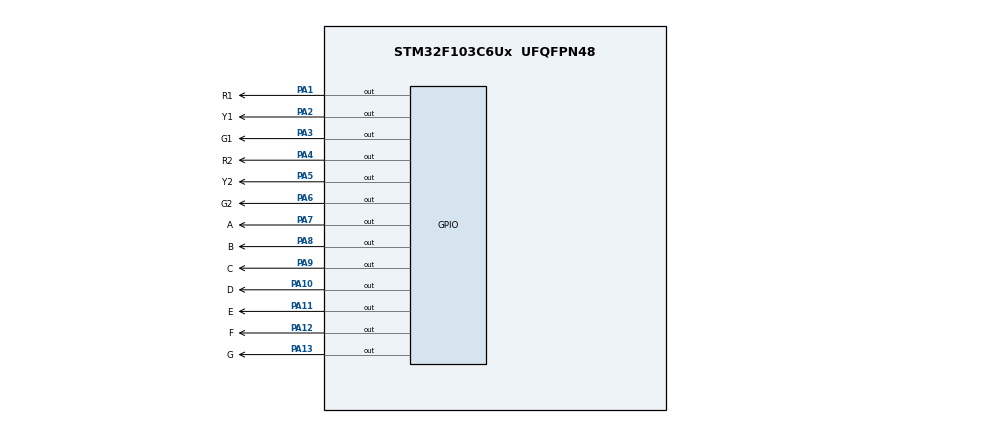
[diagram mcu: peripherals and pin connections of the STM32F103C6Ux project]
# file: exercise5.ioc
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Mcu.Family=STM32F1
Mcu.Name=STM32F103C6Ux
Mcu.Package=UFQFPN48
NVIC.PriorityGroup=NVIC_PRIORITYGROUP_4
PA1.GPIO_Label=R1
PA1.Signal=GPIO_Output
PA10.GPIO_Label=D
PA10.Signal=GPIO_Output
PA11.GPIO_Label=E
PA11.Signal=GPIO_Output
PA12.GPIO_Label=F
PA12.Signal=GPIO_Output
PA13.GPIO_Label=G
PA13.Signal=GPIO_Output
PA2.GPIO_Label=Y1
PA2.Signal=GPIO_Output
PA3.GPIO_Label=G1
PA3.Signal=GPIO_Output
PA4.GPIO_Label=R2
PA4.Signal=GPIO_Output
PA5.GPIO_Label=Y2
PA5.Signal=GPIO_Output
PA6.GPIO_Label=G2
PA6.Signal=GPIO_Output
PA7.GPIO_Label=A
PA7.Signal=GPIO_Output
PA8.GPIO_Label=B
PA8.Signal=GPIO_Output
PA9.GPIO_Label=C
PA9.Signal=GPIO_Output
ProjectManager.HeapSize=0x200
ProjectManager.StackSize=0x400
ProjectManager.TargetToolchain=STM32CubeIDE
RCC.APB1Freq_Value=8000000
RCC.APB2Freq_Value=8000000
VP_SYS_VS_ND.Mode=No_Debug
board=custom

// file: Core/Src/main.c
/* USER CODE BEGIN Header */
/**
  ******************************************************************************
  * @file           : main.c
  * @brief          : Main program body
  ******************************************************************************
  * @attention
  *
  * <h2><center>&copy; Copyright (c) 2023 STMicroelectronics.
  * All rights reserved.</center></h2>
  *
  * This software component is licensed by ST under BSD 3-Clause license,
  * the "License"; You may not use this file except in compliance with the
  * License. You may obtain a copy of the License at:
  *                        opensource.org/licenses/BSD-3-Clause
  *
  ******************************************************************************
  */
/* USER CODE END Header */
#include "main.h"

void SystemClock_Config(void);
static void MX_GPIO_Init(void);

void display7SEG(int count){
	if(count == 0){
		HAL_GPIO_WritePin(A_GPIO_Port, A_Pin, RESET);
		HAL_GPIO_WritePin(B_GPIO_Port, B_Pin, RESET);
		HAL_GPIO_WritePin(C_GPIO_Port, C_Pin, RESET);
		HAL_GPIO_WritePin(D_GPIO_Port, D_Pin, RESET);
		HAL_GPIO_WritePin(E_GPIO_Port, E_Pin, RESET);
		HAL_GPIO_WritePin(F_GPIO_Port, F_Pin, RESET);
		HAL_GPIO_WritePin(G_GPIO_Port, G_Pin, SET);
	}
	else if(count == 1){
		HAL_GPIO_WritePin(A_GPIO_Port, A_Pin, SET);
		HAL_GPIO_WritePin(B_GPIO_Port, B_Pin, RESET);
		HAL_GPIO_WritePin(C_GPIO_Port, C_Pin, RESET);
		HAL_GPIO_WritePin(D_GPIO_Port, D_Pin, SET);
		HAL_GPIO_WritePin(E_GPIO_Port, E_Pin, SET);
		HAL_GPIO_WritePin(F_GPIO_Port, F_Pin, SET);
		HAL_GPIO_WritePin(G_GPIO_Port, G_Pin, SET);
	}
	else if(count == 2){
			HAL_GPIO_WritePin(A_GPIO_Port, A_Pin, RESET);
			HAL_GPIO_WritePin(B_GPIO_Port, B_Pin, RESET);
			HAL_GPIO_WritePin(C_GPIO_Port, C_Pin, SET);
			HAL_GPIO_WritePin(D_GPIO_Port, D_Pin, RESET);
			HAL_GPIO_WritePin(E_GPIO_Port, E_Pin, RESET);
			HAL_GPIO_WritePin(F_GPIO_Port, F_Pin, SET);
			HAL_GPIO_WritePin(G_GPIO_Port, G_Pin, RESET);
	}
	else if(count == 3){
			HAL_GPIO_WritePin(A_GPIO_Port, A_Pin, RESET);
			HAL_GPIO_WritePin(B_GPIO_Port, B_Pin, RESET);
			HAL_GPIO_WritePin(C_GPIO_Port, C_Pin, RESET);
			HAL_GPIO_WritePin(D_GPIO_Port, D_Pin, RESET);
			HAL_GPIO_WritePin(E_GPIO_Port, E_Pin, SET);
			HAL_GPIO_WritePin(F_GPIO_Port, F_Pin, SET);
			HAL_GPIO_WritePin(G_GPIO_Port, G_Pin, RESET);
	}
	else if(count == 4){
			HAL_GPIO_WritePin(A_GPIO_Port, A_Pin, SET);
			HAL_GPIO_WritePin(B_GPIO_Port, B_Pin, RESET);
			HAL_GPIO_WritePin(C_GPIO_Port, C_Pin, RESET);
			HAL_GPIO_WritePin(D_GPIO_Port, D_Pin, SET);
			HAL_GPIO_WritePin(E_GPIO_Port, E_Pin, SET);
			HAL_GPIO_WritePin(F_GPIO_Port, F_Pin, RESET);
			HAL_GPIO_WritePin(G_GPIO_Port, G_Pin, RESET);
	}
	else if(count == 5){
			HAL_GPIO_WritePin(A_GPIO_Port, A_Pin, RESET);
			HAL_GPIO_WritePin(B_GPIO_Port, B_Pin, SET);
			HAL_GPIO_WritePin(C_GPIO_Port, C_Pin, RESET);
			HAL_GPIO_WritePin(D_GPIO_Port, D_Pin, RESET);
			HAL_GPIO_WritePin(E_GPIO_Port, E_Pin, SET);
			HAL_GPIO_WritePin(F_GPIO_Port, F_Pin, RESET);
			HAL_GPIO_WritePin(G_GPIO_Port, G_Pin, RESET);
	}
	else if(count == 6){
			HAL_GPIO_WritePin(A_GPIO_Port, A_Pin, RESET);
			HAL_GPIO_WritePin(B_GPIO_Port, B_Pin, SET);
			HAL_GPIO_WritePin(C_GPIO_Port, C_Pin, RESET);
			HAL_GPIO_WritePin(D_GPIO_Port, D_Pin, RESET);
			HAL_GPIO_WritePin(E_GPIO_Port, E_Pin, RESET);
			HAL_GPIO_WritePin(F_GPIO_Port, F_Pin, RESET);
			HAL_GPIO_WritePin(G_GPIO_Port, G_Pin, RESET);
	}
	else if(count == 7){
			HAL_GPIO_WritePin(A_GPIO_Port, A_Pin, RESET);
			HAL_GPIO_WritePin(B_GPIO_Port, B_Pin, RESET);
			HAL_GPIO_WritePin(C_GPIO_Port, C_Pin, RESET);
			HAL_GPIO_WritePin(D_GPIO_Port, D_Pin, SET);
			HAL_GPIO_WritePin(E_GPIO_Port, E_Pin, SET);
			HAL_GPIO_WritePin(F_GPIO_Port, F_Pin, SET);
			HAL_GPIO_WritePin(G_GPIO_Port, G_Pin, SET);
	}
	else if(count == 8){
			HAL_GPIO_WritePin(A_GPIO_Port, A_Pin, RESET);
			HAL_GPIO_WritePin(B_GPIO_Port, B_Pin, RESET);
			HAL_GPIO_WritePin(C_GPIO_Port, C_Pin, RESET);
			HAL_GPIO_WritePin(D_GPIO_Port, D_Pin, RESET);
			HAL_GPIO_WritePin(E_GPIO_Port, E_Pin, RESET);
			HAL_GPIO_WritePin(F_GPIO_Port, F_Pin, RESET);
			HAL_GPIO_WritePin(G_GPIO_Port, G_Pin, RESET);
	}
	else if(count == 9){
			HAL_GPIO_WritePin(A_GPIO_Port, A_Pin, RESET);
			HAL_GPIO_WritePin(B_GPIO_Port, B_Pin, RESET);
			HAL_GPIO_WritePin(C_GPIO_Port, C_Pin, RESET);
			HAL_GPIO_WritePin(D_GPIO_Port, D_Pin, RESET);
			HAL_GPIO_WritePin(E_GPIO_Port, E_Pin, SET);
			HAL_GPIO_WritePin(F_GPIO_Port, F_Pin, RESET);
			HAL_GPIO_WritePin(G_GPIO_Port, G_Pin, RESET);
	}
}
int main(void)
{

  /* MCU Configuration--------------------------------------------------------*/

  /* Reset of all peripherals, Initializes the Flash interface and the Systick. */
  HAL_Init();

  /* Configure the system clock */
  SystemClock_Config();

  /* Initialize all configured peripherals */
  MX_GPIO_Init();

  /* Infinite loop */
  /* USER CODE BEGIN WHILE */
  HAL_GPIO_WritePin(R1_GPIO_Port, R1_Pin, RESET);
  HAL_GPIO_WritePin(Y1_GPIO_Port, Y1_Pin, RESET);
  HAL_GPIO_WritePin(G1_GPIO_Port, G1_Pin, RESET);
  HAL_GPIO_WritePin(R2_GPIO_Port, R2_Pin, RESET);
  HAL_GPIO_WritePin(Y2_GPIO_Port, Y2_Pin, RESET);
  HAL_GPIO_WritePin(G2_GPIO_Port, G2_Pin, RESET);
//  HAL_Delay(2000);
  int count = 0;
  while (1)
  {
	  if(count == 10 || count == 0){
		  count = 0;
		  HAL_GPIO_WritePin(Y1_GPIO_Port, Y1_Pin, RESET);
		  HAL_GPIO_WritePin(R2_GPIO_Port, R2_Pin, RESET);
		  HAL_GPIO_WritePin(R1_GPIO_Port, R1_Pin, SET);
		  HAL_GPIO_WritePin(G2_GPIO_Port, G2_Pin, SET);
	  }
	  else if(count == 3){
		  HAL_GPIO_WritePin(G2_GPIO_Port, G2_Pin, RESET);
		  HAL_GPIO_WritePin(Y2_GPIO_Port, Y2_Pin, SET);
	  }
	  else if(count == 5){
		  HAL_GPIO_WritePin(Y2_GPIO_Port, Y2_Pin, RESET);
		  HAL_GPIO_WritePin(R1_GPIO_Port, R1_Pin, RESET);
		  HAL_GPIO_WritePin(R2_GPIO_Port, R2_Pin, SET);
		  HAL_GPIO_WritePin(G1_GPIO_Port, G1_Pin, SET);
	  }
	  else if(count == 8){
		  HAL_GPIO_WritePin(G1_GPIO_Port, G1_Pin, RESET);
		  HAL_GPIO_WritePin(Y1_GPIO_Port, Y1_Pin, SET);
	  }
	  if(count < 5)
		  display7SEG(5 - count);
	  else if(count < 8)
		  display7SEG(8 - count);
	  else
		  display7SEG(10 - count);
	  count++;
	  HAL_Delay(500);
    /* USER CODE END WHILE */

  }
}

void SystemClock_Config(void)
{
  RCC_OscInitTypeDef RCC_OscInitStruct = {0};
  RCC_ClkInitTypeDef RCC_ClkInitStruct = {0};

  /** Initializes the RCC Oscillators according to the specified parameters
  * in the RCC_OscInitTypeDef structure.
  */
  RCC_OscInitStruct.OscillatorType = RCC_OSCILLATORTYPE_HSI;
  RCC_OscInitStruct.HSIState = RCC_HSI_ON;
  RCC_OscInitStruct.HSICalibrationValue = RCC_HSICALIBRATION_DEFAULT;
  RCC_OscInitStruct.PLL.PLLState = RCC_PLL_NONE;
  if (HAL_RCC_OscConfig(&RCC_OscInitStruct) != HAL_OK)
  {
    Error_Handler();
  }
  /** Initializes the CPU, AHB and APB buses clocks
  */
  RCC_ClkInitStruct.ClockType = RCC_CLOCKTYPE_HCLK|RCC_CLOCKTYPE_SYSCLK
                              |RCC_CLOCKTYPE_PCLK1|RCC_CLOCKTYPE_PCLK2;
  RCC_ClkInitStruct.SYSCLKSource = RCC_SYSCLKSOURCE_HSI;
  RCC_ClkInitStruct.AHBCLKDivider = RCC_SYSCLK_DIV1;
  RCC_ClkInitStruct.APB1CLKDivider = RCC_HCLK_DIV1;
  RCC_ClkInitStruct.APB2CLKDivider = RCC_HCLK_DIV1;

  if (HAL_RCC_ClockConfig(&RCC_ClkInitStruct, FLASH_LATENCY_0) != HAL_OK)
  {
    Error_Handler();
  }
}

static void MX_GPIO_Init(void)
{
  GPIO_InitTypeDef GPIO_InitStruct = {0};

  /* GPIO Ports Clock Enable */
  __HAL_RCC_GPIOA_CLK_ENABLE();

  /*Configure GPIO pin Output Level */
  HAL_GPIO_WritePin(GPIOA, R1_Pin|Y1_Pin|G1_Pin|R2_Pin
                          |Y2_Pin|G2_Pin|A_Pin|B_Pin
                          |C_Pin|D_Pin|E_Pin|F_Pin
                          |G_Pin, GPIO_PIN_RESET);

  /*Configure GPIO pins : R1_Pin Y1_Pin G1_Pin R2_Pin
                           Y2_Pin G2_Pin A_Pin B_Pin
                           C_Pin D_Pin E_Pin F_Pin
                           G_Pin */
  GPIO_InitStruct.Pin = R1_Pin|Y1_Pin|G1_Pin|R2_Pin
                          |Y2_Pin|G2_Pin|A_Pin|B_Pin
                          |C_Pin|D_Pin|E_Pin|F_Pin
                          |G_Pin;
  GPIO_InitStruct.Mode = GPIO_MODE_OUTPUT_PP;
  GPIO_InitStruct.Pull = GPIO_NOPULL;
  GPIO_InitStruct.Speed = GPIO_SPEED_FREQ_LOW;
  HAL_GPIO_Init(GPIOA, &GPIO_InitStruct);

}

void Error_Handler(void)
{
  __disable_irq();
  while (1)
  {
  }
}

/************************ (C) COPYRIGHT STMicroelectronics *****END OF FILE****/
